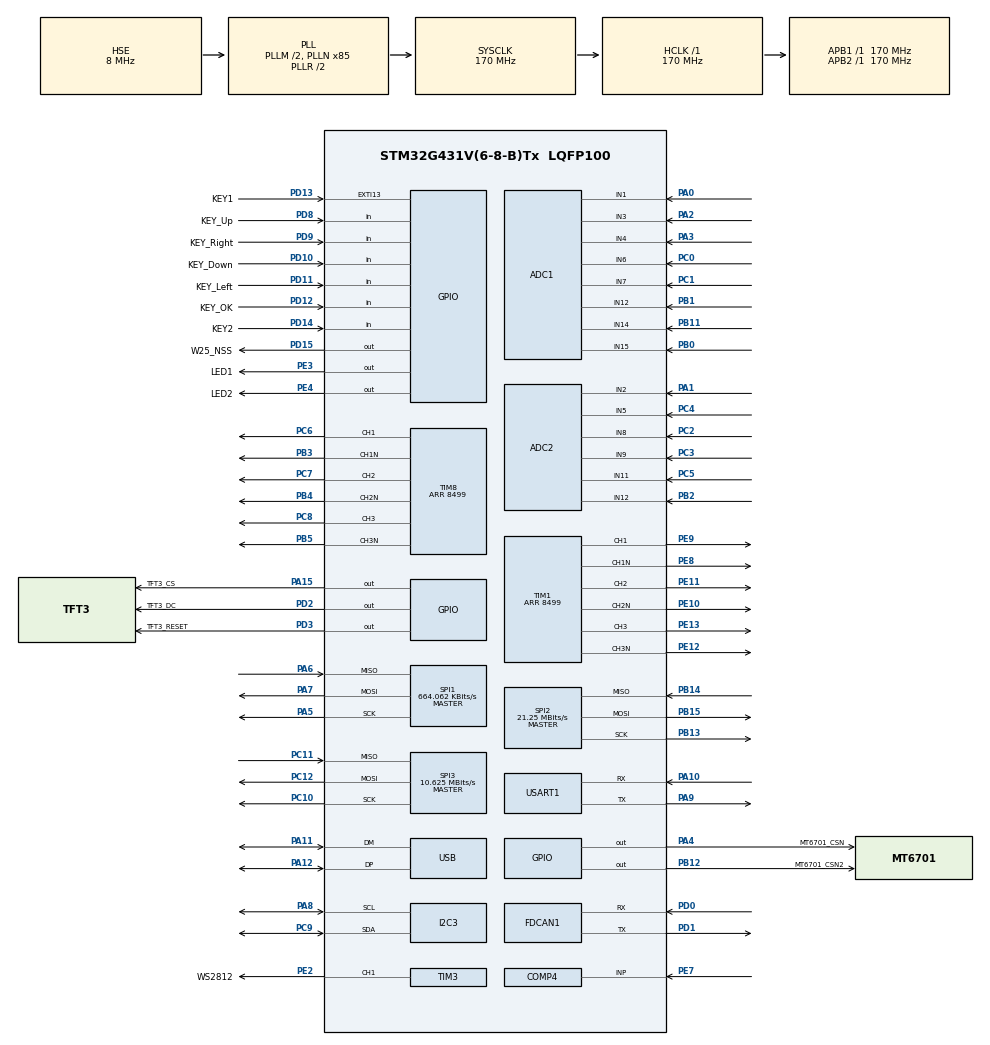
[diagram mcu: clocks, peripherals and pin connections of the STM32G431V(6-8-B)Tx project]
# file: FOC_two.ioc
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ADC1.Channel-5\#ChannelRegularConversion=ADC_CHANNEL_15
ADC1.Channel-6\#ChannelRegularConversion=ADC_CHANNEL_VREFINT
ADC1.DMAContinuousRequests=ENABLE
ADC1.EOCSelection=ADC_EOC_SEQ_CONV
ADC1.EnableInjectedConversion=ENABLE
ADC1.EnableRegularConversion=ENABLE
ADC1.ExternalTrigConv=ADC_EXTERNALTRIG_T6_TRGO
ADC1.ExternalTrigInjecConv=ADC_EXTERNALTRIGINJEC_T1_TRGO2
ADC1.InjNumberOfConversion=4
ADC1.InjectedChannel-1\#ChannelInjectedConversion=ADC_CHANNEL_1
ADC1.InjectedChannel-2\#ChannelInjectedConversion=ADC_CHANNEL_6
ADC1.InjectedChannel-3\#ChannelInjectedConversion=ADC_CHANNEL_7
ADC1.InjectedChannel-4\#ChannelInjectedConversion=ADC_CHANNEL_14
ADC1.InjectedOffsetNumber-1\#ChannelInjectedConversion=ADC_OFFSET_NONE
ADC1.InjectedOffsetNumber-2\#ChannelInjectedConversion=ADC_OFFSET_NONE
ADC1.InjectedOffsetNumber-3\#ChannelInjectedConversion=ADC_OFFSET_NONE
ADC1.InjectedOffsetNumber-4\#ChannelInjectedConversion=ADC_OFFSET_NONE
ADC1.InjectedRank-1\#ChannelInjectedConversion=1
ADC1.InjectedRank-2\#ChannelInjectedConversion=2
ADC1.InjectedRank-3\#ChannelInjectedConversion=3
ADC1.InjectedRank-4\#ChannelInjectedConversion=4
ADC1.InjectedSamplingTime-1\#ChannelInjectedConversion=ADC_SAMPLETIME_12CYCLES_5
ADC1.InjectedSamplingTime-2\#ChannelInjectedConversion=ADC_SAMPLETIME_47CYCLES_5
ADC1.InjectedSamplingTime-3\#ChannelInjectedConversion=ADC_SAMPLETIME_47CYCLES_5
ADC1.InjectedSamplingTime-4\#ChannelInjectedConversion=ADC_SAMPLETIME_12CYCLES_5
ADC1.Mode=ADC_DUALMODE_INJECSIMULT
ADC1.NbrOfConversion=2
ADC1.NbrOfConversionFlag=1
ADC1.OffsetNumber-5\#ChannelRegularConversion=ADC_OFFSET_NONE
ADC1.OffsetNumber-6\#ChannelRegularConversion=ADC_OFFSET_NONE
ADC1.Overrun=ADC_OVR_DATA_OVERWRITTEN
ADC1.Rank-5\#ChannelRegularConversion=1
ADC1.Rank-6\#ChannelRegularConversion=2
ADC1.Rank2_Channel=ADC_CHANNEL_6
ADC1.Rank3_Channel=ADC_CHANNEL_7
ADC1.Rank4_Channel=ADC_CHANNEL_14
ADC1.SamplingTime-5\#ChannelRegularConversion=ADC_SAMPLETIME_47CYCLES_5
ADC1.SamplingTime-6\#ChannelRegularConversion=ADC_SAMPLETIME_640CYCLES_5
ADC1.ScanConvMode=ADC_SCAN_ENABLE
ADC1.master=1
ADC2.EOCSelection=ADC_EOC_SEQ_CONV
ADC2.EnableInjectedConversion=ENABLE
ADC2.EnableRegularConversion=DISABLE
ADC2.InjNumberOfConversion=4
ADC2.InjectedChannel-1\#ChannelInjectedConversion=ADC_CHANNEL_2
ADC2.InjectedChannel-2\#ChannelInjectedConversion=ADC_CHANNEL_8
ADC2.InjectedChannel-3\#ChannelInjectedConversion=ADC_CHANNEL_9
ADC2.InjectedChannel-4\#ChannelInjectedConversion=ADC_CHANNEL_5
ADC2.InjectedOffsetNumber-1\#ChannelInjectedConversion=ADC_OFFSET_NONE
ADC2.InjectedOffsetNumber-2\#ChannelInjectedConversion=ADC_OFFSET_NONE
ADC2.InjectedOffsetNumber-3\#ChannelInjectedConversion=ADC_OFFSET_NONE
ADC2.InjectedOffsetNumber-4\#ChannelInjectedConversion=ADC_OFFSET_NONE
ADC2.InjectedRank-1\#ChannelInjectedConversion=1
ADC2.InjectedRank-2\#ChannelInjectedConversion=2
ADC2.InjectedRank-3\#ChannelInjectedConversion=3
ADC2.InjectedRank-4\#ChannelInjectedConversion=4
ADC2.InjectedSamplingTime-1\#ChannelInjectedConversion=ADC_SAMPLETIME_12CYCLES_5
ADC2.InjectedSamplingTime-2\#ChannelInjectedConversion=ADC_SAMPLETIME_47CYCLES_5
ADC2.InjectedSamplingTime-3\#ChannelInjectedConversion=ADC_SAMPLETIME_47CYCLES_5
ADC2.InjectedSamplingTime-4\#ChannelInjectedConversion=ADC_SAMPLETIME_12CYCLES_5
ADC2.Mode=ADC_DUALMODE_INJECSIMULT
ADC2.Rank2_Channel=ADC_CHANNEL_8
ADC2.Rank3_Channel=ADC_CHANNEL_9
ADC2.Rank4_Channel=ADC_CHANNEL_5
COMP4.Hysteresis=COMP_HYSTERESIS_10MV
DAC3.DAC_Channel-DAC_OUT2_Int=DAC_CHANNEL_2
Dma.ADC1.4.Direction=DMA_PERIPH_TO_MEMORY
Dma.ADC1.4.EventEnable=DISABLE
Dma.ADC1.4.Instance=DMA1_Channel5
Dma.ADC1.4.MemDataAlignment=DMA_MDATAALIGN_HALFWORD
Dma.ADC1.4.MemInc=DMA_MINC_ENABLE
Dma.ADC1.4.Mode=DMA_CIRCULAR
Dma.ADC1.4.PeriphDataAlignment=DMA_PDATAALIGN_HALFWORD
Dma.ADC1.4.PeriphInc=DMA_PINC_DISABLE
Dma.ADC1.4.Polarity=HAL_DMAMUX_REQ_GEN_RISING
Dma.ADC1.4.Priority=DMA_PRIORITY_LOW
Dma.ADC1.4.RequestNumber=1
Dma.ADC1.4.SignalID=NONE
Dma.ADC1.4.SyncEnable=DISABLE
Dma.ADC1.4.SyncPolarity=HAL_DMAMUX_SYNC_NO_EVENT
Dma.ADC1.4.SyncRequestNumber=1
Dma.ADC1.4.SyncSignalID=NONE
Dma.Request0=SPI1_RX
Dma.Request1=SPI1_TX
Dma.Request2=TIM3_CH1
Dma.Request3=SPI3_TX
Dma.Request4=ADC1
Dma.Request5=SPI2_RX
Dma.Request6=SPI2_TX
Dma.SPI1_RX.0.Direction=DMA_PERIPH_TO_MEMORY
Dma.SPI1_RX.0.EventEnable=DISABLE
Dma.SPI1_RX.0.Instance=DMA1_Channel1
Dma.SPI1_RX.0.MemDataAlignment=DMA_MDATAALIGN_BYTE
Dma.SPI1_RX.0.MemInc=DMA_MINC_ENABLE
Dma.SPI1_RX.0.Mode=DMA_NORMAL
Dma.SPI1_RX.0.PeriphDataAlignment=DMA_PDATAALIGN_BYTE
Dma.SPI1_RX.0.PeriphInc=DMA_PINC_DISABLE
Dma.SPI1_RX.0.Polarity=HAL_DMAMUX_REQ_GEN_RISING
Dma.SPI1_RX.0.Priority=DMA_PRIORITY_LOW
Dma.SPI1_RX.0.RequestNumber=1
Dma.SPI1_RX.0.SignalID=NONE
Dma.SPI1_RX.0.SyncEnable=DISABLE
Dma.SPI1_RX.0.SyncPolarity=HAL_DMAMUX_SYNC_NO_EVENT
Dma.SPI1_RX.0.SyncRequestNumber=1
Dma.SPI1_RX.0.SyncSignalID=NONE
Dma.SPI1_TX.1.Direction=DMA_MEMORY_TO_PERIPH
Dma.SPI1_TX.1.EventEnable=DISABLE
Dma.SPI1_TX.1.Instance=DMA1_Channel2
Dma.SPI1_TX.1.MemDataAlignment=DMA_MDATAALIGN_BYTE
Dma.SPI1_TX.1.MemInc=DMA_MINC_ENABLE
Dma.SPI1_TX.1.Mode=DMA_NORMAL
Dma.SPI1_TX.1.PeriphDataAlignment=DMA_PDATAALIGN_BYTE
Dma.SPI1_TX.1.PeriphInc=DMA_PINC_DISABLE
Dma.SPI1_TX.1.Polarity=HAL_DMAMUX_REQ_GEN_RISING
Dma.SPI1_TX.1.Priority=DMA_PRIORITY_LOW
Dma.SPI1_TX.1.RequestNumber=1
Dma.SPI1_TX.1.SignalID=NONE
Dma.SPI1_TX.1.SyncEnable=DISABLE
Dma.SPI1_TX.1.SyncPolarity=HAL_DMAMUX_SYNC_NO_EVENT
Dma.SPI1_TX.1.SyncRequestNumber=1
Dma.SPI1_TX.1.SyncSignalID=NONE
Dma.SPI2_RX.5.Direction=DMA_PERIPH_TO_MEMORY
Dma.SPI2_RX.5.EventEnable=DISABLE
Dma.SPI2_RX.5.Instance=DMA2_Channel1
Dma.SPI2_RX.5.MemDataAlignment=DMA_MDATAALIGN_BYTE
Dma.SPI2_RX.5.MemInc=DMA_MINC_ENABLE
Dma.SPI2_RX.5.Mode=DMA_NORMAL
Dma.SPI2_RX.5.PeriphDataAlignment=DMA_PDATAALIGN_BYTE
Dma.SPI2_RX.5.PeriphInc=DMA_PINC_DISABLE
Dma.SPI2_RX.5.Polarity=HAL_DMAMUX_REQ_GEN_RISING
Dma.SPI2_RX.5.Priority=DMA_PRIORITY_HIGH
Dma.SPI2_RX.5.RequestNumber=1
Dma.SPI2_RX.5.SignalID=NONE
Dma.SPI2_RX.5.SyncEnable=DISABLE
Dma.SPI2_RX.5.SyncPolarity=HAL_DMAMUX_SYNC_NO_EVENT
Dma.SPI2_RX.5.SyncRequestNumber=1
Dma.SPI2_RX.5.SyncSignalID=NONE
Dma.SPI2_TX.6.Direction=DMA_MEMORY_TO_PERIPH
Dma.SPI2_TX.6.EventEnable=DISABLE
Dma.SPI2_TX.6.Instance=DMA2_Channel2
Dma.SPI2_TX.6.MemDataAlignment=DMA_MDATAALIGN_BYTE
Dma.SPI2_TX.6.MemInc=DMA_MINC_ENABLE
Dma.SPI2_TX.6.Mode=DMA_NORMAL
Dma.SPI2_TX.6.PeriphDataAlignment=DMA_PDATAALIGN_BYTE
Dma.SPI2_TX.6.PeriphInc=DMA_PINC_DISABLE
Dma.SPI2_TX.6.Polarity=HAL_DMAMUX_REQ_GEN_RISING
Dma.SPI2_TX.6.Priority=DMA_PRIORITY_HIGH
Dma.SPI2_TX.6.RequestNumber=1
Dma.SPI2_TX.6.SignalID=NONE
Dma.SPI2_TX.6.SyncEnable=DISABLE
Dma.SPI2_TX.6.SyncPolarity=HAL_DMAMUX_SYNC_NO_EVENT
Dma.SPI2_TX.6.SyncRequestNumber=1
Dma.SPI2_TX.6.SyncSignalID=NONE
Dma.SPI3_TX.3.Direction=DMA_MEMORY_TO_PERIPH
Dma.SPI3_TX.3.EventEnable=DISABLE
Dma.SPI3_TX.3.Instance=DMA1_Channel4
Dma.SPI3_TX.3.MemDataAlignment=DMA_MDATAALIGN_BYTE
Dma.SPI3_TX.3.MemInc=DMA_MINC_ENABLE
Dma.SPI3_TX.3.Mode=DMA_NORMAL
Dma.SPI3_TX.3.PeriphDataAlignment=DMA_PDATAALIGN_BYTE
Dma.SPI3_TX.3.PeriphInc=DMA_PINC_DISABLE
Dma.SPI3_TX.3.Polarity=HAL_DMAMUX_REQ_GEN_RISING
Dma.SPI3_TX.3.Priority=DMA_PRIORITY_LOW
Dma.SPI3_TX.3.RequestNumber=1
Dma.SPI3_TX.3.SignalID=NONE
Dma.SPI3_TX.3.SyncEnable=DISABLE
Dma.SPI3_TX.3.SyncPolarity=HAL_DMAMUX_SYNC_NO_EVENT
Dma.SPI3_TX.3.SyncRequestNumber=1
Dma.SPI3_TX.3.SyncSignalID=NONE
Dma.TIM3_CH1.2.Direction=DMA_MEMORY_TO_PERIPH
Dma.TIM3_CH1.2.EventEnable=DISABLE
Dma.TIM3_CH1.2.Instance=DMA1_Channel3
Dma.TIM3_CH1.2.MemDataAlignment=DMA_MDATAALIGN_HALFWORD
Dma.TIM3_CH1.2.MemInc=DMA_MINC_ENABLE
Dma.TIM3_CH1.2.Mode=DMA_NORMAL
Dma.TIM3_CH1.2.PeriphDataAlignment=DMA_PDATAALIGN_HALFWORD
Dma.TIM3_CH1.2.PeriphInc=DMA_PINC_DISABLE
Dma.TIM3_CH1.2.Polarity=HAL_DMAMUX_REQ_GEN_RISING
Dma.TIM3_CH1.2.Priority=DMA_PRIORITY_LOW
Dma.TIM3_CH1.2.RequestNumber=1
Dma.TIM3_CH1.2.SignalID=NONE
Dma.TIM3_CH1.2.SyncEnable=DISABLE
Dma.TIM3_CH1.2.SyncPolarity=HAL_DMAMUX_SYNC_NO_EVENT
Dma.TIM3_CH1.2.SyncRequestNumber=1
Dma.TIM3_CH1.2.SyncSignalID=NONE
FDCAN1.CalculateBaudRateNominal=3541666
FDCAN1.CalculateTimeBitNominal=282
FDCAN1.CalculateTimeQuantumNominal=94.11764705882354
I2C3.Timing=0x40B285C2
Mcu.Family=STM32G4
Mcu.Name=STM32G431V(6-8-B)Tx
Mcu.Package=LQFP100
NVIC.ADC1_2_IRQn=true\:0\:0\:false\:false\:true\:true\:true\:true
NVIC.DMA1_Channel1_IRQn=true\:1\:0\:true\:false\:true\:false\:true\:true
NVIC.DMA1_Channel2_IRQn=true\:1\:0\:true\:false\:true\:false\:true\:true
NVIC.DMA1_Channel3_IRQn=true\:5\:0\:true\:false\:true\:false\:true\:true
NVIC.DMA1_Channel4_IRQn=true\:4\:0\:true\:false\:true\:false\:true\:true
NVIC.DMA1_Channel5_IRQn=true\:2\:0\:true\:false\:true\:false\:true\:true
NVIC.DMA2_Channel1_IRQn=true\:1\:0\:true\:false\:true\:false\:true\:true
NVIC.DMA2_Channel2_IRQn=true\:1\:0\:true\:false\:true\:false\:true\:true
NVIC.EXTI15_10_IRQn=true\:0\:0\:false\:false\:true\:true\:true\:true
NVIC.PriorityGroup=NVIC_PRIORITYGROUP_4
NVIC.SPI1_IRQn=true\:1\:0\:true\:false\:true\:true\:true\:true
NVIC.SPI2_IRQn=true\:1\:0\:true\:false\:true\:true\:true\:true
NVIC.SPI3_IRQn=true\:4\:0\:true\:false\:true\:true\:true\:true
NVIC.TIM1_BRK_TIM15_IRQn=true\:0\:0\:false\:false\:true\:true\:true\:true
NVIC.TIM2_IRQn=true\:3\:0\:true\:false\:true\:true\:true\:true
NVIC.USART1_IRQn=true\:4\:0\:true\:false\:true\:true\:true\:true
NVIC.USB_LP_IRQn=true\:5\:0\:true\:false\:true\:false\:true\:true
PA0.Mode=IN1-Single-Ended
PA0.Signal=ADC1_IN1
PA1.Mode=IN2-Single-Ended
PA1.Signal=ADC2_IN2
PA10.Mode=Asynchronous
PA10.Signal=USART1_RX
PA11.Mode=Device
PA11.Signal=USB_DM
PA12.Mode=Device
PA12.Signal=USB_DP
PA13.Mode=Serial_Wire
PA13.Signal=SYS_JTMS-SWDIO
PA14.Mode=Serial_Wire
PA14.Signal=SYS_JTCK-SWCLK
PA15.GPIO_Label=TFT3_CS
PA15.GPIO_Speed=GPIO_SPEED_FREQ_MEDIUM
PA15.PinState=GPIO_PIN_SET
PA15.Signal=GPIO_Output
PA2.Mode=IN3-Single-Ended
PA2.Signal=ADC1_IN3
PA3.Mode=IN4-Single-Ended
PA3.Signal=ADC1_IN4
PA4.GPIO_Label=MT6701_CSN
PA4.GPIO_Speed=GPIO_SPEED_FREQ_MEDIUM
PA4.PinState=GPIO_PIN_SET
PA4.Signal=GPIO_Output
PA5.GPIO_Speed=GPIO_SPEED_FREQ_MEDIUM
PA5.Mode=Full_Duplex_Master
PA5.Signal=SPI1_SCK
PA6.GPIO_PuPd=GPIO_PULLUP
PA6.GPIO_Speed=GPIO_SPEED_FREQ_MEDIUM
PA6.Mode=Full_Duplex_Master
PA6.Signal=SPI1_MISO
PA7.GPIO_Speed=GPIO_SPEED_FREQ_MEDIUM
PA7.Mode=Full_Duplex_Master
PA7.Signal=SPI1_MOSI
PA8.Mode=I2C
PA8.Signal=I2C3_SCL
PA9.Mode=Asynchronous
PA9.Signal=USART1_TX
PB0.Mode=IN15-Single-Ended
PB0.Signal=ADC1_IN15
PB1.Mode=IN12-Single-Ended
PB1.Signal=ADC1_IN12
PB11.Mode=IN14-Single-Ended
PB11.Signal=ADC1_IN14
PB12.GPIO_Label=MT6701_CSN2
PB12.GPIO_Speed=GPIO_SPEED_FREQ_MEDIUM
PB12.PinState=GPIO_PIN_SET
PB12.Signal=GPIO_Output
PB13.GPIO_Speed=GPIO_SPEED_FREQ_VERY_HIGH
PB13.Mode=Full_Duplex_Master
PB13.Signal=SPI2_SCK
PB14.GPIO_PuPd=GPIO_PULLUP
PB14.GPIO_Speed=GPIO_SPEED_FREQ_VERY_HIGH
PB14.Mode=Full_Duplex_Master
PB14.Signal=SPI2_MISO
PB15.GPIO_Speed=GPIO_SPEED_FREQ_VERY_HIGH
PB15.Mode=Full_Duplex_Master
PB15.Signal=SPI2_MOSI
PB2.Mode=IN12-Single-Ended
PB2.Signal=ADC2_IN12
PB3.GPIO_PuPd=GPIO_PULLDOWN
PB3.GPIO_Speed=GPIO_SPEED_FREQ_VERY_HIGH
PB3.Mode=PWM Generation1 CH1 CH1N
PB3.Signal=TIM8_CH1N
PB4.GPIO_PuPd=GPIO_PULLDOWN
PB4.GPIO_Speed=GPIO_SPEED_FREQ_VERY_HIGH
PB4.Mode=PWM Generation2 CH2 CH2N
PB4.Signal=TIM8_CH2N
PB5.GPIO_PuPd=GPIO_PULLDOWN
PB5.GPIO_Speed=GPIO_SPEED_FREQ_VERY_HIGH
PB5.Mode=PWM Generation3 CH3 CH3N
PB5.Signal=TIM8_CH3N
PC0.Mode=IN6-Single-Ended
PC0.Signal=ADC1_IN6
PC1.Mode=IN7-Single-Ended
PC1.Signal=ADC1_IN7
PC10.GPIO_Speed=GPIO_SPEED_FREQ_VERY_HIGH
PC10.Mode=Full_Duplex_Master
PC10.Signal=SPI3_SCK
PC11.GPIO_Speed=GPIO_SPEED_FREQ_MEDIUM
PC11.Mode=Full_Duplex_Master
PC11.Signal=SPI3_MISO
PC12.GPIO_Speed=GPIO_SPEED_FREQ_VERY_HIGH
PC12.Mode=Full_Duplex_Master
PC12.Signal=SPI3_MOSI
PC2.Mode=IN8-Single-Ended
PC2.Signal=ADC2_IN8
PC3.Mode=IN9-Single-Ended
PC3.Signal=ADC2_IN9
PC4.Mode=IN5-Single-Ended
PC4.Signal=ADC2_IN5
PC5.Mode=IN11-Single-Ended
PC5.Signal=ADC2_IN11
PC6.GPIO_PuPd=GPIO_PULLDOWN
PC6.GPIO_Speed=GPIO_SPEED_FREQ_VERY_HIGH
PC6.Signal=S_TIM8_CH1
PC7.GPIO_PuPd=GPIO_PULLDOWN
PC7.GPIO_Speed=GPIO_SPEED_FREQ_VERY_HIGH
PC7.Signal=S_TIM8_CH2
PC8.GPIO_PuPd=GPIO_PULLDOWN
PC8.GPIO_Speed=GPIO_SPEED_FREQ_VERY_HIGH
PC8.Signal=S_TIM8_CH3
PC9.Mode=I2C
PC9.Signal=I2C3_SDA
PD0.Mode=FDCAN_Activate
PD0.Signal=FDCAN1_RX
PD1.Mode=FDCAN_Activate
PD1.Signal=FDCAN1_TX
PD10.GPIO_Label=KEY_Down
PD10.GPIO_PuPd=GPIO_PULLUP
PD10.Signal=GPIO_Input
PD11.GPIO_Label=KEY_Left
PD11.GPIO_PuPd=GPIO_PULLUP
PD11.Signal=GPIO_Input
PD12.GPIO_Label=KEY_OK
PD12.GPIO_PuPd=GPIO_PULLUP
PD12.Signal=GPIO_Input
PD13.GPIO_Label=KEY1
PD13.GPIO_ModeDefaultEXTI=GPIO_MODE_IT_FALLING
PD13.GPIO_PuPd=GPIO_PULLUP
PD13.Signal=GPXTI13
PD14.GPIO_Label=KEY2
PD14.GPIO_PuPd=GPIO_PULLUP
PD14.Signal=GPIO_Input
PD15.GPIO_Label=W25_NSS
PD15.GPIO_Speed=GPIO_SPEED_FREQ_MEDIUM
PD15.PinState=GPIO_PIN_SET
PD15.Signal=GPIO_Output
PD2.GPIO_Label=TFT3_DC
PD2.GPIO_Speed=GPIO_SPEED_FREQ_MEDIUM
PD2.Signal=GPIO_Output
PD3.GPIO_Label=TFT3_RESET
PD3.GPIO_Speed=GPIO_SPEED_FREQ_MEDIUM
PD3.PinState=GPIO_PIN_SET
PD3.Signal=GPIO_Output
PD8.GPIO_Label=KEY_Up
PD8.GPIO_PuPd=GPIO_PULLUP
PD8.Signal=GPIO_Input
PD9.GPIO_Label=KEY_Right
PD9.GPIO_PuPd=GPIO_PULLUP
PD9.Signal=GPIO_Input
PE10.GPIO_PuPd=GPIO_PULLDOWN
PE10.GPIO_Speed=GPIO_SPEED_FREQ_VERY_HIGH
PE10.Mode=PWM Generation2 CH2 CH2N
PE10.Signal=TIM1_CH2N
PE11.GPIO_PuPd=GPIO_PULLDOWN
PE11.GPIO_Speed=GPIO_SPEED_FREQ_VERY_HIGH
PE11.Signal=S_TIM1_CH2
PE12.GPIO_PuPd=GPIO_PULLDOWN
PE12.GPIO_Speed=GPIO_SPEED_FREQ_VERY_HIGH
PE12.Mode=PWM Generation3 CH3 CH3N
PE12.Signal=TIM1_CH3N
PE13.GPIO_PuPd=GPIO_PULLDOWN
PE13.GPIO_Speed=GPIO_SPEED_FREQ_VERY_HIGH
PE13.Signal=S_TIM1_CH3
PE2.GPIO_Label=WS2812
PE2.GPIO_Speed=GPIO_SPEED_FREQ_MEDIUM
PE2.Signal=S_TIM3_CH1
PE3.GPIO_Label=LED1
PE3.Signal=GPIO_Output
PE4.GPIO_Label=LED2
PE4.Signal=GPIO_Output
PE7.Mode=INP
PE7.Signal=COMP4_INP
PE8.GPIO_PuPd=GPIO_PULLDOWN
PE8.GPIO_Speed=GPIO_SPEED_FREQ_VERY_HIGH
PE8.Mode=PWM Generation1 CH1 CH1N
PE8.Signal=TIM1_CH1N
PE9.GPIO_PuPd=GPIO_PULLDOWN
PE9.GPIO_Speed=GPIO_SPEED_FREQ_VERY_HIGH
PE9.Signal=S_TIM1_CH1
PF0-OSC_IN.Mode=HSE-External-Oscillator
PF0-OSC_IN.Signal=RCC_OSC_IN
PF1-OSC_OUT.Mode=HSE-External-Oscillator
PF1-OSC_OUT.Signal=RCC_OSC_OUT
ProjectManager.HeapSize=0x200
ProjectManager.StackSize=0x800
ProjectManager.TargetToolchain=CMake
RCC.ADC12Freq_Value=170000000
RCC.AHBFreq_Value=170000000
RCC.APB1CLKDivider=RCC_HCLK_DIV1
RCC.APB1Freq_Value=170000000
RCC.APB1TimFreq_Value=170000000
RCC.APB2CLKDivider=RCC_HCLK_DIV1
RCC.APB2Freq_Value=170000000
RCC.APB2TimFreq_Value=170000000
RCC.CK48CLockSelection=RCC_USBCLKSOURCE_HSI48
RCC.CortexFreq_Value=170000000
RCC.EXTERNAL_CLOCK_VALUE=12288000
RCC.FDCANCLockSelection=RCC_FDCANCLKSOURCE_PLL
RCC.HCLKFreq_Value=170000000
RCC.HSE_VALUE=8000000
RCC.HSI48_VALUE=48000000
RCC.HSI_VALUE=16000000
RCC.I2C3CLockSelection=RCC_I2C3CLKSOURCE_SYSCLK
RCC.LSE_VALUE=32768
RCC.PLLM=RCC_PLLM_DIV2
RCC.PLLN=85
RCC.PLLQ=RCC_PLLQ_DIV2
RCC.PLLSourceVirtual=RCC_PLLSOURCE_HSE
RCC.SYSCLKFreq_VALUE=170000000
RCC.SYSCLKSource=RCC_SYSCLKSOURCE_PLLCLK
RCC.USBFreq_Value=48000000
RCC.VCOOutputFreq_Value=340000000
SH.S_TIM1_CH1.0=TIM1_CH1,PWM Generation1 CH1 CH1N
SH.S_TIM1_CH2.0=TIM1_CH2,PWM Generation2 CH2 CH2N
SH.S_TIM1_CH3.0=TIM1_CH3,PWM Generation3 CH3 CH3N
SH.S_TIM3_CH1.0=TIM3_CH1,PWM Generation1 CH1
SH.S_TIM8_CH1.0=TIM8_CH1,PWM Generation1 CH1 CH1N
SH.S_TIM8_CH2.0=TIM8_CH2,PWM Generation2 CH2 CH2N
SH.S_TIM8_CH3.0=TIM8_CH3,PWM Generation3 CH3 CH3N
SPI1.BaudRatePrescaler=SPI_BAUDRATEPRESCALER_256
SPI1.CLKPhase=SPI_PHASE_2EDGE
SPI1.CalculateBaudRate=664.062 KBits/s
SPI1.DataSize=SPI_DATASIZE_8BIT
SPI1.Direction=SPI_DIRECTION_2LINES
SPI1.Mode=SPI_MODE_MASTER
SPI1.VirtualType=VM_MASTER
SPI2.BaudRatePrescaler=SPI_BAUDRATEPRESCALER_8
SPI2.CalculateBaudRate=21.25 MBits/s
SPI2.DataSize=SPI_DATASIZE_8BIT
SPI2.Direction=SPI_DIRECTION_2LINES
SPI2.Mode=SPI_MODE_MASTER
SPI2.NSSPMode=SPI_NSS_PULSE_DISABLE
SPI2.VirtualType=VM_MASTER
SPI3.BaudRatePrescaler=SPI_BAUDRATEPRESCALER_16
SPI3.CalculateBaudRate=10.625 MBits/s
SPI3.DataSize=SPI_DATASIZE_8BIT
SPI3.Direction=SPI_DIRECTION_2LINES
SPI3.Mode=SPI_MODE_MASTER
SPI3.NSSPMode=SPI_NSS_PULSE_DISABLE
SPI3.VirtualType=VM_MASTER
STMicroelectronics.X-CUBE-ALGOBUILD.1.5.0.LibraryCcDSPOoLibraryJjDSPOoLibrary=true
TIM1.AutoReloadPreload=TIM_AUTORELOAD_PRELOAD_ENABLE
TIM1.Break2State=TIM_BREAK2_DISABLE
TIM1.BreakState=TIM_BREAK_ENABLE
TIM1.Channel-PWM\ Generation1\ CH1\ CH1N=TIM_CHANNEL_1
TIM1.Channel-PWM\ Generation2\ CH2\ CH2N=TIM_CHANNEL_2
TIM1.Channel-PWM\ Generation3\ CH3\ CH3N=TIM_CHANNEL_3
TIM1.Channel-PWM\ Generation4\ No\ Output=TIM_CHANNEL_4
TIM1.CounterMode=TIM_COUNTERMODE_CENTERALIGNED3
TIM1.DeadTime=17
TIM1.OffStateIDLEMode=TIM_OSSI_ENABLE
TIM1.OffStateRunMode=TIM_OSSR_ENABLE
TIM1.PeriodNoDither=8499
TIM1.PulseNoDither_4=1
TIM1.SourceBRK2COMP4=TIM_BREAKINPUTSOURCE_DISABLE
TIM1.SourceBRKCOMP4=TIM_BREAKINPUTSOURCE_ENABLE
TIM1.TIM_MasterOutputTrigger=TIM_TRGO_ENABLE
TIM1.TIM_MasterOutputTrigger2=TIM_TRGO2_OC4REF
TIM1.TIM_MasterSlaveMode=TIM_MASTERSLAVEMODE_ENABLE
TIM2.PeriodNoDither=999
TIM2.Prescaler=169
TIM3.Channel-PWM\ Generation1\ CH1=TIM_CHANNEL_1
TIM3.PeriodNoDither=212
TIM6.PeriodNoDither=499
TIM6.Prescaler=169
TIM6.TIM_MasterOutputTrigger=TIM_TRGO_UPDATE
TIM8.AutoReloadPreload=TIM_AUTORELOAD_PRELOAD_ENABLE
TIM8.Channel-PWM\ Generation1\ CH1\ CH1N=TIM_CHANNEL_1
TIM8.Channel-PWM\ Generation2\ CH2\ CH2N=TIM_CHANNEL_2
TIM8.Channel-PWM\ Generation3\ CH3\ CH3N=TIM_CHANNEL_3
TIM8.CounterMode=TIM_COUNTERMODE_CENTERALIGNED3
TIM8.DeadTime=17
TIM8.PeriodNoDither=8499
TIM8.TIM_MasterSlaveMode=TIM_MASTERSLAVEMODE_DISABLE
USART1.VirtualMode-Asynchronous=VM_ASYNC
USB_DEVICE.CLASS_NAME_FS=CDC
USB_DEVICE.USBD_LPM_ENABLED=0
USB_DEVICE.VirtualMode=Cdc
USB_DEVICE.VirtualModeFS=Cdc_FS
VP_ADC1_Vref_Input.Mode=IN-Vrefint
VP_COMP4_VS_DAC3OUT2.Mode=INM_DAC3OUT2
VP_DAC3_VS_DACI2.Mode=DAC_OUT2_Int
VP_STMicroelectronics.X-CUBE-ALGOBUILD_VS_DSPOoLibraryJjLibrary_1.5.0_1.5.0.Mode=DSPOoLibraryJjLibrary
VP_SYS_VS_DBSignals.Mode=DisableDeadBatterySignals
VP_TIM1_VS_no_output4.Mode=PWM Generation4 No Output
VP_TIM2_VS_ClockSourceINT.Mode=Internal
VP_TIM6_VS_ClockSourceINT.Mode=Enable_Timer
VP_TIM8_VS_ClockSourceINT.Mode=Internal
VP_TIM8_VS_ClockSourceITR.Mode=TriggerSource_ITR0
VP_TIM8_VS_ControllerModeTrigger.Mode=Trigger Mode
VP_USB_DEVICE_VS_USB_DEVICE_CDC_FS.Mode=CDC_FS
board=custom

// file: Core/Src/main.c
/* USER CODE BEGIN Header */
/**
  ******************************************************************************
  * @file           : main.c
  * @brief          : Main program body
  ******************************************************************************
  * @attention
  *
  * Copyright (c) 2026 STMicroelectronics.
  * All rights reserved.
  *
  * This software is licensed under terms that can be found in the LICENSE file
  * in the root directory of this software component.
  * If no LICENSE file comes with this software, it is provided AS-IS.
  *
  ******************************************************************************
  */
/* USER CODE END Header */
#include "main.h"
#include "adc.h"
#include "comp.h"
#include "dac.h"
#include "dma.h"
#include "fdcan.h"
#include "i2c.h"
#include "spi.h"
#include "tim.h"
#include "usart.h"
#include "usb_device.h"
#include "gpio.h"

/* USER CODE BEGIN Includes */
#include "board_diag.h"
#include "JerryFOC.h"
#include "MT6701.h"
#include "angle_src_encoder.h"
#include "motor_params.h"
#include "motor_sampling.h"
#include "motor_control.h"
#include "st_hso.h"
#include "ws2812.h"
#include "protocol.h"
#include "uart_port.h"
#include "app_storage.h"
#include "kk_oled.h"
#include "kk_oled_driver.h"
#include "kk_ui.h"
#include "ui_app.h"
#include "ui_input.h"
#include <math.h>
#include <stdbool.h>
/* USER CODE END Includes */

/* USER CODE BEGIN PV */
static volatile uint8_t g_need_align = 0U;
static uint8_t ui_ok = 0U;
static uint8_t g_aligning = 0U;
static uint32_t g_align_start = 0U;
volatile uint32_t g_boot_stage;
volatile uint32_t g_error_return_address;

#define ALIGN_TIME_MS 3000U
/* USER CODE END PV */

void SystemClock_Config(void);

/* USER CODE BEGIN 0 */
/* 单颗 WS2812 只显示状态：
 *   红   = 编码器或 ADC/母线采样异常
 *   黄   = 编码器正常但尚未完成零点标定
 *   绿   = 已标定、待机
 *   蓝   = 正在运行（有速度）
 */
static void WS2812_UpdateStatus(void)
{
    static uint32_t last_color = 0xFFFFFFFFU;
    uint32_t color;

    MotorAxisSnapshot m1,m2;
    MotorControl_GetAxis(MOTOR_AXIS_1,&m1);
    MotorControl_GetAxis(MOTOR_AXIS_2,&m2);
    bool a1=MotorControl_AxisEnabled(MOTOR_AXIS_1), a2=MotorControl_AxisEnabled(MOTOR_AXIS_2);
    if ((a1 && (!m1.ready || !m1.healthy)) || (a2 && (!m2.ready || !m2.healthy))) {
        color = (30U << 16);                                  /* 红 */
    } else if ((a1 && !MotorControl_IsPassive(MOTOR_AXIS_1) && !m1.aligned) ||
               (a2 && !MotorControl_IsPassive(MOTOR_AXIS_2) && !m2.aligned)) {
        color = (30U << 16) | (15U << 8);                     /* 黄 */
    } else if ((a1 && fabsf(m1.velocity)>1.0f) || (a2 && fabsf(m2.velocity)>1.0f)) {
        color = 30U;                                          /* 蓝 */
    } else {
        color = (30U << 8);                                   /* 绿 */
    }

    if (!AppStorage_LedEnabled()) {
        color = 0U;
    } else {
        uint8_t bright = AppStorage_LedBrightness();
        if (bright < 100U) {
            uint32_t r = (((color >> 16) & 0xFFU) * bright) / 100U;
            uint32_t g = (((color >> 8) & 0xFFU) * bright) / 100U;
            uint32_t b = ((color & 0xFFU) * bright) / 100U;
            color = (r << 16) | (g << 8) | b;
        }
    }

    if (color != last_color) {
        last_color = color;
        WS2812_SetRgb(0U,
                      (uint8_t)((color >> 16) & 0xFFU),
                      (uint8_t)((color >> 8) & 0xFFU),
                      (uint8_t)(color & 0xFFU));
        WS2812_Show();
    }
}
/* USER CODE END 0 */

int main(void)
{

  /* USER CODE BEGIN 1 */
  BoardDiag_Init();
   g_boot_stage = 1U;
  /* USER CODE END 1 */

  /* MCU Configuration--------------------------------------------------------*/

  /* Reset of all peripherals, Initializes the Flash interface and the Systick. */
  HAL_Init();

  /* USER CODE BEGIN Init */
  g_boot_stage = 2U;
  /* USER CODE END Init */

  /* Configure the system clock */
  SystemClock_Config();

  /* USER CODE BEGIN SysInit */
  /* HSI48 用 USB SOF 做 CRS 校准，保证 USB CDC 的 48 MHz 精度 */
  {
    RCC_CRSInitTypeDef pInit = {0};

    __HAL_RCC_CRS_CLK_ENABLE();
    pInit.Prescaler = RCC_CRS_SYNC_DIV1;
    pInit.Source = RCC_CRS_SYNC_SOURCE_USB;
    pInit.Polarity = RCC_CRS_SYNC_POLARITY_RISING;
    pInit.ReloadValue = __HAL_RCC_CRS_RELOADVALUE_CALCULATE(48000000, 1000);
    pInit.ErrorLimitValue = 34;
    pInit.HSI48CalibrationValue = 32;
    HAL_RCCEx_CRSConfig(&pInit);
  }
  g_boot_stage = 3U;
  /* USER CODE END SysInit */

  /* Initialize all configured peripherals */
  MX_GPIO_Init();
  MX_DMA_Init();
  MX_ADC1_Init();
  MX_FDCAN1_Init();
  MX_SPI1_Init();
  MX_SPI2_Init();
  MX_SPI3_Init();
  MX_TIM1_Init();
  MX_TIM3_Init();
  MX_TIM8_Init();
  MX_USART1_UART_Init();
  MX_ADC2_Init();
  MX_I2C3_Init();
  MX_TIM2_Init();
  MX_USB_Device_Init();
  MX_TIM6_Init();
  MX_COMP4_Init();
  MX_DAC3_Init();
  /* USER CODE BEGIN 2 */
  g_boot_stage = 4U;
  if (BoardDiag_LastCrash()->kind) MotorSampling_GlobalStopIRQ();
  /* KEY1 uses the generated internal pull-up and a 100 nF capacitor.
   * Allow cold-start RC charging before polling its level (25..55 kohm).
   * PWM/ADC have not started; EXTI stays live and no stop latch is cleared. */
  HAL_Delay(30U);
  /* Also latch a key held before power-up (there may be no falling edge). */
  (void)MotorSampling_IsGlobalStopped();

  /* 1. 开启 DWT 计数器，提供微秒级延时 */
  CoreDebug->DEMCR |= CoreDebug_DEMCR_TRCENA_Msk;
  DWT->CYCCNT = 0;
  DWT->CTRL |= DWT_CTRL_CYCCNTENA_Msk;

  /* 2. MT6701 定频采样与串口接收 */
  MT6701_StartContinuous();
  Uart1_Init();

  /* Load the selected motor before ADC protection, alignment or FOC starts.
   * This also works when LCD initialization fails. */
  (void)AppStorage_Init();
  MotorControl_Init();

  /* 4. WS2812 状态灯 */
  WS2812_Init();

  /* 5. W25Q64 设置/日志与 KK_UI */
  ui_input_init();
  if (AppStorage_IsReady()) {
      AppStorage_Log(APP_LOG_BOOT, AppStorage_ReadID());
  }

  if (OLED_Init() == OLED_OK) {
      /* 面板原生 80x160，旋转为 160x80 横屏 */
      OLED_SetRotation(OLED_ROTATION_270);
      ui_app_reset(HAL_GetTick());
      if (KK_UI_Init(ui_app_get()) == KK_UI_OK) {
          ui_ok = 1U;
      }
  }

  /* 8. 启动音效（必须在 ADC 注入组启动前播放） */
//   JerryFOC_playStartupSound();

  /* 8. 上电请求一次编码器零点标定 */
  g_need_align = 1U;

  /* Acquisition runs even with no motor supply. Service enables M1 only
   * after zero calibration and stable VBUS. M2 power remains disabled. */
  g_boot_stage = 5U;
  (void)MotorSampling_SetIbusLimit(AppSettings_GetIbusLimit(AppStorage_Get()->control_config));
  if (!MotorSampling_Start()) {
      /* A hardware/HAL startup failure keeps power disabled; 0 V is NOT a
       * startup failure and continues to be measured until VBUS is connected. */
      g_need_align = 0U;
      if (ui_ok) (void)KK_UI_ShowToast(MotorSampling_GetStatusText(), 1800U);
  }

  /* 10. 1 ms 速度/位置外环 */
  g_boot_stage = 6U;
  if (HAL_TIM_Base_Start_IT(&htim2) != HAL_OK) {
      MotorSampling_Stop();
      Error_Handler();
  }
  g_boot_stage = 7U;
  /* USER CODE END 2 */

  /* Infinite loop */
  while (1)
  {

    /* USER CODE BEGIN 3 */
    uint32_t now = HAL_GetTick();
    MotorSampling_Service();
    if (MotorSampling_IsGlobalStopped()) {
        g_need_align=0U; g_aligning=0U;
    }
    if (MotorSampling_IsIbusTripped()) {
        g_need_align=0U; /* A cleared hardware trip must not revive boot alignment. */
        if (g_aligning) { MotorControl_Stop(MOTOR_AXIS_1); g_aligning=0U; }
    }
    MT6701_MainService();
    Protocol_Service();
    OLED_DriverService();
    AppStorage_Service(now);
    MT6701_2_Service(HAL_GetTick());
    MotorControl_Service(HAL_GetTick());
    now = HAL_GetTick();
    if (ui_ok) {
        ui_app_update(now);
        /* 存储服务可能耗时，动画与 DMA 超时判定必须使用新时间。 */
        now = HAL_GetTick();
        KK_UI_Status ui_status = KK_UI_Update(now, ui_input_poll());
        if (ui_status == KK_UI_DISPLAY_ERROR ||
            ui_status == KK_UI_DISPLAY_TIMEOUT) {
            ui_app_note_display_error();
            (void)KK_UI_RecoverDisplay();
        }
        ui_app_process_events();
    }

    if (!MotorSampling_IsGlobalStopped() && MotorControl_MotionAllowed(MOTOR_AXIS_1) &&
        !MotorControl_HsoAllowed() && !MotorControl_SixStepAllowed() &&
        (g_need_align || JerryFOC_needsAlignment()) && !g_aligning &&
        MotorSampling_IsReady() && MotorSampling_IsCalibrated() && MT6701_IsHealthy()) {
        g_need_align = 0U;
        JerryFOC_setMode(JERRYFOC_MODE_TORQUE);
        JerryFOC_setCurrent(0.0f);

        JerryFOC_alignStart();
        g_aligning = 1U;
        g_align_start = now;

        if (ui_ok) {
            (void)KK_UI_ShowToast("Aligning...", ALIGN_TIME_MS);
            (void)KK_UI_Update(HAL_GetTick(), (KK_UI_Input){0U});
        }
    }

    /* 标定不阻塞主循环，期间按键和界面仍然可用 */
    if (g_aligning && (!JerryFOC_isAligning() || !MotorSampling_IsReady() ||
        (now - g_align_start) >= ALIGN_TIME_MS)) {
        g_aligning = 0U;
        JerryFOC_alignFinish();
        AppStorage_Log(APP_LOG_ALIGN_DONE,
                       AngleSrc_Encoder_IsAligned() ? 1U : 0U);

        if (ui_ok) {
            KK_UI_Invalidate();
        }
    }

    Telemetry_Service();
    WS2812_UpdateStatus();
    WS2812_Service();
  }
  /* USER CODE END 3 */
}

void SystemClock_Config(void)
{
  RCC_OscInitTypeDef RCC_OscInitStruct = {0};
  RCC_ClkInitTypeDef RCC_ClkInitStruct = {0};

  /** Configure the main internal regulator output voltage
  */
  HAL_PWREx_ControlVoltageScaling(PWR_REGULATOR_VOLTAGE_SCALE1_BOOST);

  /** Initializes the RCC Oscillators according to the specified parameters
  * in the RCC_OscInitTypeDef structure.
  */
  RCC_OscInitStruct.OscillatorType = RCC_OSCILLATORTYPE_HSI48|RCC_OSCILLATORTYPE_HSE;
  RCC_OscInitStruct.HSEState = RCC_HSE_ON;
  RCC_OscInitStruct.HSI48State = RCC_HSI48_ON;
  RCC_OscInitStruct.PLL.PLLState = RCC_PLL_ON;
  RCC_OscInitStruct.PLL.PLLSource = RCC_PLLSOURCE_HSE;
  RCC_OscInitStruct.PLL.PLLM = RCC_PLLM_DIV2;
  RCC_OscInitStruct.PLL.PLLN = 85;
  RCC_OscInitStruct.PLL.PLLP = RCC_PLLP_DIV2;
  RCC_OscInitStruct.PLL.PLLQ = RCC_PLLQ_DIV2;
  RCC_OscInitStruct.PLL.PLLR = RCC_PLLR_DIV2;
  if (HAL_RCC_OscConfig(&RCC_OscInitStruct) != HAL_OK)
  {
    Error_Handler();
  }

  /** Initializes the CPU, AHB and APB buses clocks
  */
  RCC_ClkInitStruct.ClockType = RCC_CLOCKTYPE_HCLK|RCC_CLOCKTYPE_SYSCLK
                              |RCC_CLOCKTYPE_PCLK1|RCC_CLOCKTYPE_PCLK2;
  RCC_ClkInitStruct.SYSCLKSource = RCC_SYSCLKSOURCE_PLLCLK;
  RCC_ClkInitStruct.AHBCLKDivider = RCC_SYSCLK_DIV1;
  RCC_ClkInitStruct.APB1CLKDivider = RCC_HCLK_DIV1;
  RCC_ClkInitStruct.APB2CLKDivider = RCC_HCLK_DIV1;

  if (HAL_RCC_ClockConfig(&RCC_ClkInitStruct, FLASH_LATENCY_4) != HAL_OK)
  {
    Error_Handler();
  }
}

void Error_Handler(void)
{
  /* USER CODE BEGIN Error_Handler_Debug */
  /* User can add his own implementation to report the HAL error return state */
  g_error_return_address = (uint32_t)(uintptr_t)__builtin_return_address(0);
  /* Also safe when initialization failed before timer clocks were enabled. */
  if (htim1.Instance != NULL) __HAL_TIM_MOE_DISABLE_UNCONDITIONALLY(&htim1);
  if (htim8.Instance != NULL) __HAL_TIM_MOE_DISABLE_UNCONDITIONALLY(&htim8);
  __disable_irq();
  while (1)
  {
  }
  /* USER CODE END Error_Handler_Debug */
}
